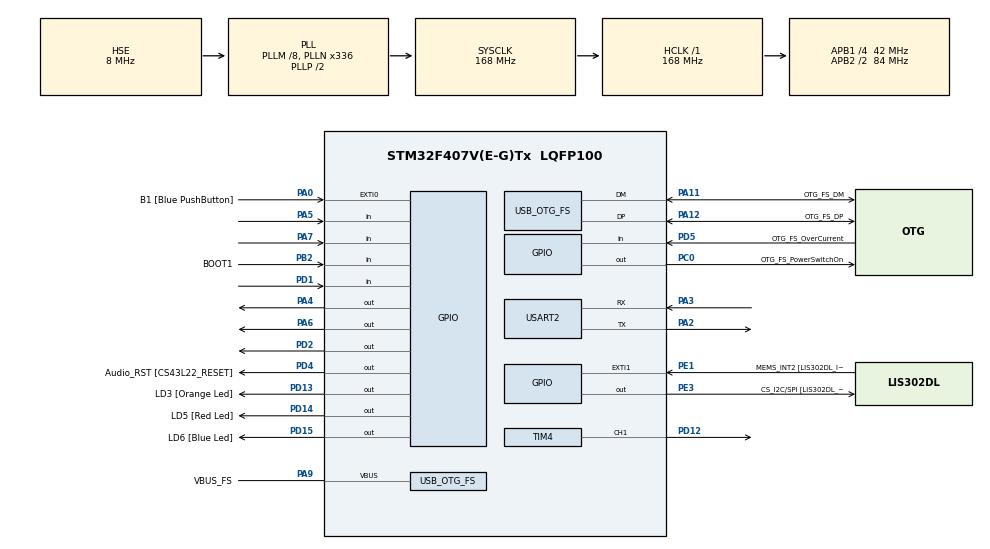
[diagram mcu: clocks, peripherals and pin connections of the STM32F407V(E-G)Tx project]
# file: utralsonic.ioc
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Mcu.Family=STM32F4
Mcu.Name=STM32F407V(E-G)Tx
Mcu.Package=LQFP100
NVIC.OTG_FS_IRQn=true\:0\:0\:false\:false\:true\:true\:true
NVIC.PriorityGroup=NVIC_PRIORITYGROUP_0
NVIC.TIM1_UP_TIM10_IRQn=true\:0\:0\:false\:false\:true\:true\:true
PA0-WKUP.GPIO_Label=B1 [Blue PushButton]
PA0-WKUP.GPIO_ModeDefaultEXTI=GPIO_MODE_EVT_RISING
PA0-WKUP.GPIO_PuPd=GPIO_NOPULL
PA0-WKUP.Signal=GPXTI0
PA10.GPIO_Label=OTG_FS_ID
PA10.GPIO_Mode=GPIO_MODE_AF_PP
PA10.GPIO_PuPd=GPIO_NOPULL
PA10.GPIO_Speed=GPIO_SPEED_FREQ_LOW
PA10.Signal=USB_OTG_FS_ID
PA11.GPIO_Label=OTG_FS_DM
PA11.GPIO_Mode=GPIO_MODE_AF_PP
PA11.GPIO_PuPd=GPIO_NOPULL
PA11.GPIO_Speed=GPIO_SPEED_FREQ_LOW
PA11.Mode=Host_Only
PA11.Signal=USB_OTG_FS_DM
PA12.GPIO_Label=OTG_FS_DP
PA12.GPIO_Mode=GPIO_MODE_AF_PP
PA12.GPIO_PuPd=GPIO_NOPULL
PA12.GPIO_Speed=GPIO_SPEED_FREQ_LOW
PA12.Mode=Host_Only
PA12.Signal=USB_OTG_FS_DP
PA13.GPIO_Label=SWDIO
PA13.Mode=Serial_Wire
PA13.Signal=SYS_JTMS-SWDIO
PA14.GPIO_Label=SWCLK
PA14.Mode=Serial_Wire
PA14.Signal=SYS_JTCK-SWCLK
PA2.Mode=Asynchronous
PA2.Signal=USART2_TX
PA3.Mode=Asynchronous
PA3.Signal=USART2_RX
PA4.Signal=GPIO_Output
PA5.Signal=GPIO_Input
PA6.Signal=GPIO_Output
PA7.Signal=GPIO_Input
PA9.GPIO_Label=VBUS_FS
PA9.GPIO_Mode=GPIO_MODE_INPUT
PA9.GPIO_PuPd=GPIO_NOPULL
PA9.Mode=Activate_VBUS
PA9.Signal=USB_OTG_FS_VBUS
PB10.GPIO_Label=CLK_IN [MP45DT02_CLK]
PB10.GPIO_Mode=GPIO_MODE_AF_PP
PB10.GPIO_PuPd=GPIO_NOPULL
PB10.GPIO_Speed=GPIO_SPEED_FREQ_LOW
PB10.Signal=I2S2_CK
PB2.GPIO_Label=BOOT1
PB2.GPIO_Mode=GPIO_MODE_INPUT
PB2.GPIO_PuPd=GPIO_NOPULL
PB2.Signal=GPIO_Input
PB3.GPIO_Label=SWO
PB3.Signal=SYS_JTDO-SWO
PB6.GPIO_Label=Audio_SCL [CS43L22_SCL]
PB6.GPIO_Mode=GPIO_MODE_AF_OD
PB6.GPIO_PuPd=GPIO_NOPULL
PB6.GPIO_Speed=GPIO_SPEED_FREQ_LOW
PB6.Signal=I2C1_SCL
PB9.GPIO_Label=Audio_SDA [CS43L22_SDA]
PB9.GPIO_Mode=GPIO_MODE_AF_OD
PB9.GPIO_PuPd=GPIO_NOPULL
PB9.GPIO_Speed=GPIO_SPEED_FREQ_LOW
PB9.Signal=I2C1_SDA
PC0.GPIO_Label=OTG_FS_PowerSwitchOn
PC0.GPIO_PuPd=GPIO_NOPULL
PC0.GPIO_Speed=GPIO_SPEED_FREQ_LOW
PC0.PinState=GPIO_PIN_SET
PC0.Signal=GPIO_Output
PC10.GPIO_Label=I2S3_SCK [CS43L22_SCLK]
PC10.GPIO_Mode=GPIO_MODE_AF_PP
PC10.GPIO_PuPd=GPIO_NOPULL
PC10.GPIO_Speed=GPIO_SPEED_FREQ_LOW
PC10.Signal=I2S3_CK
PC12.GPIO_Label=I2S3_SD [CS43L22_SDIN]
PC12.GPIO_Mode=GPIO_MODE_AF_PP
PC12.GPIO_PuPd=GPIO_NOPULL
PC12.GPIO_Speed=GPIO_SPEED_FREQ_LOW
PC12.Signal=I2S3_SD
PC14-OSC32_IN.GPIO_Label=PC14-OSC32_IN
PC14-OSC32_IN.Mode=LSE-External-Oscillator
PC14-OSC32_IN.Signal=RCC_OSC32_IN
PC15-OSC32_OUT.GPIO_Label=PC15-OSC32_OUT
PC15-OSC32_OUT.Mode=LSE-External-Oscillator
PC15-OSC32_OUT.Signal=RCC_OSC32_OUT
PC3.GPIO_Label=PDM_OUT [MP45DT02_DOUT]
PC3.GPIO_Mode=GPIO_MODE_AF_PP
PC3.GPIO_PuPd=GPIO_NOPULL
PC3.GPIO_Speed=GPIO_SPEED_FREQ_LOW
PC3.Signal=I2S2_SD
PC7.GPIO_Label=I2S3_MCK [CS43L22_MCLK]
PC7.GPIO_Mode=GPIO_MODE_AF_PP
PC7.GPIO_PuPd=GPIO_NOPULL
PC7.GPIO_Speed=GPIO_SPEED_FREQ_LOW
PC7.Signal=I2S3_MCK
PD1.Signal=GPIO_Input
PD12.Signal=S_TIM4_CH1
PD13.GPIO_Label=LD3 [Orange Led]
PD13.GPIO_PuPd=GPIO_NOPULL
PD13.GPIO_Speed=GPIO_SPEED_FREQ_LOW
PD13.Signal=GPIO_Output
PD14.GPIO_Label=LD5 [Red Led]
PD14.GPIO_PuPd=GPIO_NOPULL
PD14.GPIO_Speed=GPIO_SPEED_FREQ_LOW
PD14.Signal=GPIO_Output
PD15.GPIO_Label=LD6 [Blue Led]
PD15.GPIO_PuPd=GPIO_NOPULL
PD15.GPIO_Speed=GPIO_SPEED_FREQ_LOW
PD15.Signal=GPIO_Output
PD2.Signal=GPIO_Output
PD4.GPIO_Label=Audio_RST [CS43L22_RESET]
PD4.GPIO_PuPd=GPIO_NOPULL
PD4.GPIO_Speed=GPIO_SPEED_FREQ_LOW
PD4.Signal=GPIO_Output
PD5.GPIO_Label=OTG_FS_OverCurrent
PD5.GPIO_Mode=GPIO_MODE_INPUT
PD5.GPIO_PuPd=GPIO_NOPULL
PD5.Signal=GPIO_Input
PE1.GPIO_Label=MEMS_INT2 [LIS302DL_INT2]
PE1.GPIO_ModeDefaultEXTI=GPIO_MODE_EVT_RISING
PE1.GPIO_PuPd=GPIO_NOPULL
PE1.Signal=GPXTI1
PE3.GPIO_Label=CS_I2C/SPI [LIS302DL_CS_I2C/SPI]
PE3.GPIO_PuPd=GPIO_NOPULL
PE3.GPIO_Speed=GPIO_SPEED_FREQ_LOW
PE3.Signal=GPIO_Output
PH0-OSC_IN.GPIO_Label=PH0-OSC_IN
PH0-OSC_IN.Mode=HSE-External-Oscillator
PH0-OSC_IN.Signal=RCC_OSC_IN
PH1-OSC_OUT.GPIO_Label=PH1-OSC_OUT
PH1-OSC_OUT.Mode=HSE-External-Oscillator
PH1-OSC_OUT.Signal=RCC_OSC_OUT
ProjectManager.HeapSize=0x200
ProjectManager.StackSize=0x400
ProjectManager.TargetToolchain=STM32CubeIDE
RCC.48MHZClocksFreq_Value=48000000
RCC.AHBFreq_Value=168000000
RCC.APB1CLKDivider=RCC_HCLK_DIV4
RCC.APB1Freq_Value=42000000
RCC.APB1TimFreq_Value=84000000
RCC.APB2CLKDivider=RCC_HCLK_DIV2
RCC.APB2Freq_Value=84000000
RCC.APB2TimFreq_Value=168000000
RCC.CortexFreq_Value=168000000
RCC.HCLKFreq_Value=168000000
RCC.HSE_VALUE=8000000
RCC.HSI_VALUE=16000000
RCC.PLLM=8
RCC.PLLN=336
RCC.PLLQ=7
RCC.SYSCLKFreq_VALUE=168000000
RCC.SYSCLKSource=RCC_SYSCLKSOURCE_PLLCLK
RCC.VCOOutputFreq_Value=336000000
SH.S_TIM4_CH1.0=TIM4_CH1,PWM Generation1 CH1
TIM1.Period=10000
TIM1.Prescaler=83
TIM10.Period=10000
TIM10.Prescaler=16799
TIM4.Channel-PWM\ Generation1\ CH1=TIM_CHANNEL_1
TIM4.Period=20000
TIM4.Prescaler=83
TIM4.Pulse-PWM\ Generation1\ CH1=1000
USART2.VirtualMode=VM_ASYNC
USB_HOST.BSP.number=1
USB_HOST.USBH_HandleTypeDef-CDC_FS=hUsbHostFS
USB_HOST.VirtualModeFS=Cdc
USB_HOST0.BSP.STBoard=false
USB_HOST0.BSP.api=Unknown
USB_HOST0.BSP.i2caddr=0
USB_HOST0.BSP.i2creg=0
USB_HOST0.BSP.instance=PC0
USB_HOST0.BSP.ip=GPIO
USB_HOST0.BSP.mode=Output
USB_HOST0.BSP.name=Drive_VBUS_FS
USB_HOST0.BSP.solution=PC0
USB_OTG_FS.VirtualMode=Host_Only
USB_OTG_FS.phy_itface=HCD_PHY_EMBEDDED
VP_TIM10_VS_ClockSourceINT.Mode=Enable_Timer
VP_TIM1_VS_ClockSourceINT.Mode=Internal
VP_USB_HOST_VS_USB_HOST_CDC_FS.Mode=CDC_FS
board=STM32F4DISCOVERY

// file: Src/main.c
/* USER CODE BEGIN Header */
/**
  ******************************************************************************
  * @file           : main.c
  * @brief          : Main program body
  ******************************************************************************
  * @attention
  *
  * <h2><center>&copy; Copyright (c) 2019 STMicroelectronics.
  * All rights reserved.</center></h2>
  *
  * This software component is licensed by ST under Ultimate Liberty license
  * SLA0044, the "License"; You may not use this file except in compliance with
  * the License. You may obtain a copy of the License at:
  *                             www.st.com/SLA0044
  *
  ******************************************************************************
  */
/* USER CODE END Header */

#include "main.h"
#include "usb_host.h"

/* USER CODE BEGIN Includes */
#include "stm32f4xx_hal_tim.h"
/* USER CODE END Includes */

/* USER CODE BEGIN PD */

#define outer_trigger_pin 	GPIO_PIN_6 // trigger
#define outer_echo_pin 		GPIO_PIN_7 // echo

/* USER CODE END PD */

TIM_HandleTypeDef htim1;
TIM_HandleTypeDef htim4;
TIM_HandleTypeDef htim10;

UART_HandleTypeDef huart2;

/* USER CODE BEGIN PV */

//weight
int feed = 0, maxFeed = 2;
int buffer;
char buffer2[100];
int w, p;
int  foodPerFeed = 100;
char output[256];

/* USER CODE END PV */

void SystemClock_Config(void);
static void MX_GPIO_Init(void);
static void MX_TIM1_Init(void);
static void MX_TIM4_Init(void);
static void MX_USART2_UART_Init(void);
static void MX_TIM10_Init(void);
void MX_USB_HOST_Process(void);

/* USER CODE BEGIN 0 */
int toString(char a[]){
	int c, sign, offset, n;

	  if (a[0] == '-') {  // Handle negative integers
	    sign = -1;
	  }

	  if (sign == -1) {  // Set starting position to convert
	    offset = 1;
	  }
	  else {
	    offset = 0;
	  }

	  n = 0;

	  for (c = offset; a[c] != '\0'; c++) {
	    n = n * 10 + a[c] - '0';
	  }

	  if (sign == -1) {
	    n = -n;
	  }

	  return n;
}

typedef struct _hx711 {
	GPIO_TypeDef* gpioSck;
	GPIO_TypeDef* gpioData;
	uint16_t pinSck;
	uint16_t pinData;

	int offset;
	int gain;
// 1: channel A, gain factor 128
// 2: channel B, gain factor 32
// 3: channel A, gain factor 64
} HX711;

HX711 data;

void HX711_Init(HX711 data) {
	GPIO_InitTypeDef GPIO_InitStruct;
	GPIO_InitStruct.Pin = data.pinSck;
	GPIO_InitStruct.Mode = GPIO_MODE_OUTPUT_PP;
	GPIO_InitStruct.Pull = GPIO_NOPULL;
	GPIO_InitStruct.Speed = GPIO_SPEED_FREQ_LOW;
	HAL_GPIO_Init(data.gpioSck, &GPIO_InitStruct);

	GPIO_InitStruct.Pin = data.pinData;
	GPIO_InitStruct.Mode = GPIO_MODE_INPUT;
	GPIO_InitStruct.Pull = GPIO_PULLUP;
	GPIO_InitStruct.Speed = GPIO_SPEED_FREQ_LOW;
	HAL_GPIO_Init(data.gpioData, &GPIO_InitStruct);

	HAL_GPIO_WritePin(data.gpioSck, data.pinSck, GPIO_PIN_SET);
	HAL_Delay(50);
	HAL_GPIO_WritePin(data.gpioData, data.pinSck, GPIO_PIN_RESET);

}

int HX711_Value(HX711 data) {
	int buffer;
	buffer = 0;

	while (HAL_GPIO_ReadPin(data.gpioData, data.pinData) == 1);

	for (uint8_t i = 0; i < 24; i++) {
		HAL_GPIO_WritePin(data.gpioSck, data.pinSck, GPIO_PIN_SET);

		buffer = buffer << 1;

		if (HAL_GPIO_ReadPin(data.gpioData, data.pinData)) {
			buffer++;
		}

		HAL_GPIO_WritePin(data.gpioSck, data.pinSck, GPIO_PIN_RESET);
	}

	for (int i = 0; i < data.gain; i++) {
		HAL_GPIO_WritePin(data.gpioSck, data.pinSck, GPIO_PIN_SET);
		HAL_GPIO_WritePin(data.gpioSck, data.pinSck, GPIO_PIN_RESET);
	}

	buffer = buffer ^ 0x800000;

	return buffer;
}

int HX711_Average_Value(HX711 data, uint8_t times) {
	int sum = 0;
	for (int i = 0; i < times; i++) {
		sum += HX711_Value(data);
		HAL_GPIO_TogglePin(GPIOD, GPIO_PIN_15);
	}

	return sum / times;
}

HX711 HX711_Tare(HX711 data, uint8_t times) {
	int sum = HX711_Average_Value(data, times);
	data.offset = sum;
	return data;
}

int getWeight() {
	buffer = HX711_Value(data) - data.offset;
	if(buffer<0)buffer=0;
	return buffer/220;
}

//servo
void servo_write(int degree)
{
	// can only assign 0 90 180 degree (CCW)
	int dutyCycle = 0;
	if (degree == 0) { dutyCycle = 900; }
	else if (degree == 90) { dutyCycle = 1300; }
	else { dutyCycle = 900; }
	__HAL_TIM_SetCompare(&htim4, TIM_CHANNEL_1, dutyCycle);
//	TIM4->CCR1  = dutyCycle;
}

//ultrasonic
void delay (uint32_t us)
{
	__HAL_TIM_SET_COUNTER(&htim1, 0);
	while ((__HAL_TIM_GET_COUNTER(&htim1))<us);
}

uint32_t us_read (uint16_t trigger, uint16_t echo)
{
	double local_time=0;
	HAL_GPIO_WritePin(GPIOA, trigger, GPIO_PIN_RESET);  // pull the TRIG pin HIGH
	HAL_Delay(1);  // wait for 2 us

	HAL_GPIO_WritePin(GPIOA, trigger, GPIO_PIN_SET);  // pull the TRIG pin HIGH
	HAL_Delay(1);  // wait for 10 us
	HAL_GPIO_WritePin(GPIOA, trigger, GPIO_PIN_RESET);  // pull the TRIG pin low

	// read the time for which the pin is high

	while (!(HAL_GPIO_ReadPin(GPIOA, echo)));  // wait for the ECHO pin to go high
	while (HAL_GPIO_ReadPin(GPIOA, echo))    // while the pin is high
	 {
		local_time++;   // measure time for which the pin is high
		delay(2);
	 }
	HAL_Delay(1);
	return local_time;
}

double dist(int sensor_time){
	return sensor_time * 0.034;
}

int statefeed = 0;
void feeding() {
	int preWeight = getWeight();
	int currentWeight = preWeight;
	//open servo
	servo_write(90);
	HAL_Delay(500);
	while(currentWeight < foodPerFeed - 10){
		HAL_Delay(100);
		currentWeight = getWeight();
	}
	//close servo
	servo_write(0);
}
void HAL_TIM_PeriodElapsedCallback(TIM_HandleTypeDef *htim)
{

	if(htim->Instance == TIM10)
	{
		memset(output, 0, 256);
		w = getWeight();
		sprintf(output, "%d. ",w, foodPerFeed);
		HAL_UART_Transmit(&huart2, output, sizeof(output), 100);
	}
}

/* USER CODE END 0 */

int main(void)
{

  /* MCU Configuration--------------------------------------------------------*/

  /* Reset of all peripherals, Initializes the Flash interface and the Systick. */
  HAL_Init();

  /* Configure the system clock */
  SystemClock_Config();

  /* Initialize all configured peripherals */
  MX_GPIO_Init();
  MX_TIM1_Init();
  MX_TIM4_Init();
  MX_USART2_UART_Init();
  MX_USB_HOST_Init();
  MX_TIM10_Init();
  /* USER CODE BEGIN 2 */
  HAL_TIM_Base_Start(&htim4);
  HAL_TIM_PWM_Start(&htim4, TIM_CHANNEL_1);
  HAL_TIM_Base_Start(&htim1);

  HAL_GPIO_WritePin(GPIOD, GPIO_PIN_14, 1);
  //	HX711 data;
  	data.gpioData = GPIOD;
  	data.gpioSck = GPIOD;
  	data.pinData = GPIO_PIN_1;
  	data.pinSck = GPIO_PIN_2;
  	data.gain = 1;
  	HX711_Init(data);
  	data = HX711_Tare(data, 100);

  	//HAL_GPIO_WritePin(GPIOD, GPIO_PIN_12, 1);

  	HAL_GPIO_WritePin(GPIOD, GPIO_PIN_15, 1);
  //servo_write(0);
  HAL_TIM_Base_Start_IT(&htim10);
  HAL_GPIO_WritePin(GPIOD, GPIO_PIN_13, 1);
  /* USER CODE END 2 */

  /* Infinite loop */
  while (1)
  {
    MX_USB_HOST_Process();

    /* USER CODE BEGIN 3 */
    servo_write(50);

    if (HAL_UART_Receive(&huart2, buffer2, 7, 500) == HAL_OK) {
	 	  			//Type "feed" to trigger.
	 	  			HAL_GPIO_WritePin(GPIOD, GPIO_PIN_13, 0);

	 	  		    //ptr = strtok(NULL," ");

	 	  			//foodPerFeed = (int) toString(buffer2);
	 	  			//foodPerFeed = atoi(s);
	 	  				int currentWeight = getWeight();
	 	  					//open servo
	 	  					servo_write(90);

	 	  					while(currentWeight < foodPerFeed-5){
	 	  						HAL_Delay(100);
	 	  						currentWeight = getWeight();
	 	  					}
	 	  					//close servo
	 	  					HAL_Delay(100);

	 	  			HAL_GPIO_WritePin(GPIOD, GPIO_PIN_13, 1);

	 	  		}

  }
  /* USER CODE END 3 */
}

void SystemClock_Config(void)
{
  RCC_OscInitTypeDef RCC_OscInitStruct = {0};
  RCC_ClkInitTypeDef RCC_ClkInitStruct = {0};

  /** Configure the main internal regulator output voltage
  */
  __HAL_RCC_PWR_CLK_ENABLE();
  __HAL_PWR_VOLTAGESCALING_CONFIG(PWR_REGULATOR_VOLTAGE_SCALE1);
  /** Initializes the CPU, AHB and APB busses clocks
  */
  RCC_OscInitStruct.OscillatorType = RCC_OSCILLATORTYPE_HSE;
  RCC_OscInitStruct.HSEState = RCC_HSE_ON;
  RCC_OscInitStruct.PLL.PLLState = RCC_PLL_ON;
  RCC_OscInitStruct.PLL.PLLSource = RCC_PLLSOURCE_HSE;
  RCC_OscInitStruct.PLL.PLLM = 8;
  RCC_OscInitStruct.PLL.PLLN = 336;
  RCC_OscInitStruct.PLL.PLLP = RCC_PLLP_DIV2;
  RCC_OscInitStruct.PLL.PLLQ = 7;
  if (HAL_RCC_OscConfig(&RCC_OscInitStruct) != HAL_OK)
  {
    Error_Handler();
  }
  /** Initializes the CPU, AHB and APB busses clocks
  */
  RCC_ClkInitStruct.ClockType = RCC_CLOCKTYPE_HCLK|RCC_CLOCKTYPE_SYSCLK
                              |RCC_CLOCKTYPE_PCLK1|RCC_CLOCKTYPE_PCLK2;
  RCC_ClkInitStruct.SYSCLKSource = RCC_SYSCLKSOURCE_PLLCLK;
  RCC_ClkInitStruct.AHBCLKDivider = RCC_SYSCLK_DIV1;
  RCC_ClkInitStruct.APB1CLKDivider = RCC_HCLK_DIV4;
  RCC_ClkInitStruct.APB2CLKDivider = RCC_HCLK_DIV2;

  if (HAL_RCC_ClockConfig(&RCC_ClkInitStruct, FLASH_LATENCY_5) != HAL_OK)
  {
    Error_Handler();
  }
}

static void MX_TIM1_Init(void)
{

  TIM_ClockConfigTypeDef sClockSourceConfig = {0};
  TIM_MasterConfigTypeDef sMasterConfig = {0};

  htim1.Instance = TIM1;
  htim1.Init.Prescaler = 83;
  htim1.Init.CounterMode = TIM_COUNTERMODE_UP;
  htim1.Init.Period = 10000;
  htim1.Init.ClockDivision = TIM_CLOCKDIVISION_DIV1;
  htim1.Init.RepetitionCounter = 0;
  htim1.Init.AutoReloadPreload = TIM_AUTORELOAD_PRELOAD_DISABLE;
  if (HAL_TIM_Base_Init(&htim1) != HAL_OK)
  {
    Error_Handler();
  }
  sClockSourceConfig.ClockSource = TIM_CLOCKSOURCE_INTERNAL;
  if (HAL_TIM_ConfigClockSource(&htim1, &sClockSourceConfig) != HAL_OK)
  {
    Error_Handler();
  }
  sMasterConfig.MasterOutputTrigger = TIM_TRGO_RESET;
  sMasterConfig.MasterSlaveMode = TIM_MASTERSLAVEMODE_DISABLE;
  if (HAL_TIMEx_MasterConfigSynchronization(&htim1, &sMasterConfig) != HAL_OK)
  {
    Error_Handler();
  }

}

static void MX_TIM4_Init(void)
{

  TIM_MasterConfigTypeDef sMasterConfig = {0};
  TIM_OC_InitTypeDef sConfigOC = {0};

  htim4.Instance = TIM4;
  htim4.Init.Prescaler = 83;
  htim4.Init.CounterMode = TIM_COUNTERMODE_UP;
  htim4.Init.Period = 20000;
  htim4.Init.ClockDivision = TIM_CLOCKDIVISION_DIV1;
  htim4.Init.AutoReloadPreload = TIM_AUTORELOAD_PRELOAD_DISABLE;
  if (HAL_TIM_PWM_Init(&htim4) != HAL_OK)
  {
    Error_Handler();
  }
  sMasterConfig.MasterOutputTrigger = TIM_TRGO_RESET;
  sMasterConfig.MasterSlaveMode = TIM_MASTERSLAVEMODE_DISABLE;
  if (HAL_TIMEx_MasterConfigSynchronization(&htim4, &sMasterConfig) != HAL_OK)
  {
    Error_Handler();
  }
  sConfigOC.OCMode = TIM_OCMODE_PWM1;
  sConfigOC.Pulse = 1000;
  sConfigOC.OCPolarity = TIM_OCPOLARITY_HIGH;
  sConfigOC.OCFastMode = TIM_OCFAST_DISABLE;
  if (HAL_TIM_PWM_ConfigChannel(&htim4, &sConfigOC, TIM_CHANNEL_1) != HAL_OK)
  {
    Error_Handler();
  }
  HAL_TIM_MspPostInit(&htim4);

}

static void MX_TIM10_Init(void)
{

  htim10.Instance = TIM10;
  htim10.Init.Prescaler = 16799;
  htim10.Init.CounterMode = TIM_COUNTERMODE_UP;
  htim10.Init.Period = 10000;
  htim10.Init.ClockDivision = TIM_CLOCKDIVISION_DIV1;
  htim10.Init.AutoReloadPreload = TIM_AUTORELOAD_PRELOAD_DISABLE;
  if (HAL_TIM_Base_Init(&htim10) != HAL_OK)
  {
    Error_Handler();
  }

}

static void MX_USART2_UART_Init(void)
{

  huart2.Instance = USART2;
  huart2.Init.BaudRate = 115200;
  huart2.Init.WordLength = UART_WORDLENGTH_8B;
  huart2.Init.StopBits = UART_STOPBITS_1;
  huart2.Init.Parity = UART_PARITY_NONE;
  huart2.Init.Mode = UART_MODE_TX_RX;
  huart2.Init.HwFlowCtl = UART_HWCONTROL_NONE;
  huart2.Init.OverSampling = UART_OVERSAMPLING_16;
  if (HAL_UART_Init(&huart2) != HAL_OK)
  {
    Error_Handler();
  }

}

static void MX_GPIO_Init(void)
{
  GPIO_InitTypeDef GPIO_InitStruct = {0};

  /* GPIO Ports Clock Enable */
  __HAL_RCC_GPIOE_CLK_ENABLE();
  __HAL_RCC_GPIOC_CLK_ENABLE();
  __HAL_RCC_GPIOH_CLK_ENABLE();
  __HAL_RCC_GPIOA_CLK_ENABLE();
  __HAL_RCC_GPIOB_CLK_ENABLE();
  __HAL_RCC_GPIOD_CLK_ENABLE();

  /*Configure GPIO pin Output Level */
  HAL_GPIO_WritePin(CS_I2C_SPI_GPIO_Port, CS_I2C_SPI_Pin, GPIO_PIN_RESET);

  /*Configure GPIO pin Output Level */
  HAL_GPIO_WritePin(OTG_FS_PowerSwitchOn_GPIO_Port, OTG_FS_PowerSwitchOn_Pin, GPIO_PIN_SET);

  /*Configure GPIO pin Output Level */
  HAL_GPIO_WritePin(GPIOA, GPIO_PIN_4|GPIO_PIN_6, GPIO_PIN_RESET);

  /*Configure GPIO pin Output Level */
  HAL_GPIO_WritePin(GPIOD, LD3_Pin|LD5_Pin|LD6_Pin|GPIO_PIN_2
                          |Audio_RST_Pin, GPIO_PIN_RESET);

  /*Configure GPIO pin : CS_I2C_SPI_Pin */
  GPIO_InitStruct.Pin = CS_I2C_SPI_Pin;
  GPIO_InitStruct.Mode = GPIO_MODE_OUTPUT_PP;
  GPIO_InitStruct.Pull = GPIO_NOPULL;
  GPIO_InitStruct.Speed = GPIO_SPEED_FREQ_LOW;
  HAL_GPIO_Init(CS_I2C_SPI_GPIO_Port, &GPIO_InitStruct);

  /*Configure GPIO pin : OTG_FS_PowerSwitchOn_Pin */
  GPIO_InitStruct.Pin = OTG_FS_PowerSwitchOn_Pin;
  GPIO_InitStruct.Mode = GPIO_MODE_OUTPUT_PP;
  GPIO_InitStruct.Pull = GPIO_NOPULL;
  GPIO_InitStruct.Speed = GPIO_SPEED_FREQ_LOW;
  HAL_GPIO_Init(OTG_FS_PowerSwitchOn_GPIO_Port, &GPIO_InitStruct);

  /*Configure GPIO pin : PDM_OUT_Pin */
  GPIO_InitStruct.Pin = PDM_OUT_Pin;
  GPIO_InitStruct.Mode = GPIO_MODE_AF_PP;
  GPIO_InitStruct.Pull = GPIO_NOPULL;
  GPIO_InitStruct.Speed = GPIO_SPEED_FREQ_LOW;
  GPIO_InitStruct.Alternate = GPIO_AF5_SPI2;
  HAL_GPIO_Init(PDM_OUT_GPIO_Port, &GPIO_InitStruct);

  /*Configure GPIO pin : B1_Pin */
  GPIO_InitStruct.Pin = B1_Pin;
  GPIO_InitStruct.Mode = GPIO_MODE_EVT_RISING;
  GPIO_InitStruct.Pull = GPIO_NOPULL;
  HAL_GPIO_Init(B1_GPIO_Port, &GPIO_InitStruct);

  /*Configure GPIO pins : PA4 PA6 */
  GPIO_InitStruct.Pin = GPIO_PIN_4|GPIO_PIN_6;
  GPIO_InitStruct.Mode = GPIO_MODE_OUTPUT_PP;
  GPIO_InitStruct.Pull = GPIO_NOPULL;
  GPIO_InitStruct.Speed = GPIO_SPEED_FREQ_LOW;
  HAL_GPIO_Init(GPIOA, &GPIO_InitStruct);

  /*Configure GPIO pins : PA5 PA7 */
  GPIO_InitStruct.Pin = GPIO_PIN_5|GPIO_PIN_7;
  GPIO_InitStruct.Mode = GPIO_MODE_INPUT;
  GPIO_InitStruct.Pull = GPIO_NOPULL;
  HAL_GPIO_Init(GPIOA, &GPIO_InitStruct);

  /*Configure GPIO pin : BOOT1_Pin */
  GPIO_InitStruct.Pin = BOOT1_Pin;
  GPIO_InitStruct.Mode = GPIO_MODE_INPUT;
  GPIO_InitStruct.Pull = GPIO_NOPULL;
  HAL_GPIO_Init(BOOT1_GPIO_Port, &GPIO_InitStruct);

  /*Configure GPIO pin : CLK_IN_Pin */
  GPIO_InitStruct.Pin = CLK_IN_Pin;
  GPIO_InitStruct.Mode = GPIO_MODE_AF_PP;
  GPIO_InitStruct.Pull = GPIO_NOPULL;
  GPIO_InitStruct.Speed = GPIO_SPEED_FREQ_LOW;
  GPIO_InitStruct.Alternate = GPIO_AF5_SPI2;
  HAL_GPIO_Init(CLK_IN_GPIO_Port, &GPIO_InitStruct);

  /*Configure GPIO pins : LD3_Pin LD5_Pin LD6_Pin PD2
                           Audio_RST_Pin */
  GPIO_InitStruct.Pin = LD3_Pin|LD5_Pin|LD6_Pin|GPIO_PIN_2
                          |Audio_RST_Pin;
  GPIO_InitStruct.Mode = GPIO_MODE_OUTPUT_PP;
  GPIO_InitStruct.Pull = GPIO_NOPULL;
  GPIO_InitStruct.Speed = GPIO_SPEED_FREQ_LOW;
  HAL_GPIO_Init(GPIOD, &GPIO_InitStruct);

  /*Configure GPIO pins : I2S3_MCK_Pin I2S3_SCK_Pin I2S3_SD_Pin */
  GPIO_InitStruct.Pin = I2S3_MCK_Pin|I2S3_SCK_Pin|I2S3_SD_Pin;
  GPIO_InitStruct.Mode = GPIO_MODE_AF_PP;
  GPIO_InitStruct.Pull = GPIO_NOPULL;
  GPIO_InitStruct.Speed = GPIO_SPEED_FREQ_LOW;
  GPIO_InitStruct.Alternate = GPIO_AF6_SPI3;
  HAL_GPIO_Init(GPIOC, &GPIO_InitStruct);

  /*Configure GPIO pins : PD1 OTG_FS_OverCurrent_Pin */
  GPIO_InitStruct.Pin = GPIO_PIN_1|OTG_FS_OverCurrent_Pin;
  GPIO_InitStruct.Mode = GPIO_MODE_INPUT;
  GPIO_InitStruct.Pull = GPIO_NOPULL;
  HAL_GPIO_Init(GPIOD, &GPIO_InitStruct);

  /*Configure GPIO pins : Audio_SCL_Pin Audio_SDA_Pin */
  GPIO_InitStruct.Pin = Audio_SCL_Pin|Audio_SDA_Pin;
  GPIO_InitStruct.Mode = GPIO_MODE_AF_OD;
  GPIO_InitStruct.Pull = GPIO_PULLUP;
  GPIO_InitStruct.Speed = GPIO_SPEED_FREQ_LOW;
  GPIO_InitStruct.Alternate = GPIO_AF4_I2C1;
  HAL_GPIO_Init(GPIOB, &GPIO_InitStruct);

  /*Configure GPIO pin : MEMS_INT2_Pin */
  GPIO_InitStruct.Pin = MEMS_INT2_Pin;
  GPIO_InitStruct.Mode = GPIO_MODE_EVT_RISING;
  GPIO_InitStruct.Pull = GPIO_NOPULL;
  HAL_GPIO_Init(MEMS_INT2_GPIO_Port, &GPIO_InitStruct);

}

void Error_Handler(void)
{
}

/************************ (C) COPYRIGHT STMicroelectronics *****END OF FILE****/
